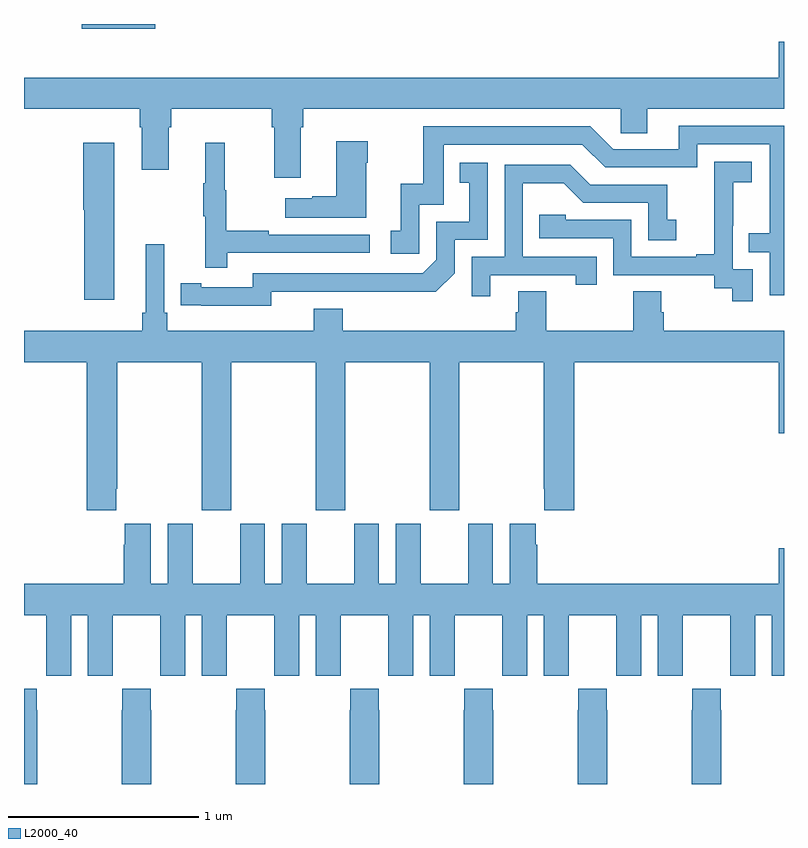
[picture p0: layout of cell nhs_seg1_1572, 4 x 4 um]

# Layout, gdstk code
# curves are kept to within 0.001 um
import gdstk
lib = gdstk.Library(unit=1e-6, precision=1e-09)
def R(c, l, rs):  # rectangles x0, y0, x1, y1
    for r in rs: c.add(gdstk.rectangle(r[:2], r[2:], *l))
def P(c, l, *ps):  # polygons
    for p in ps: c.add(gdstk.Polygon(p, *l))
L2000_40 = (2000, 40)

nhs_seg1_1572 = lib.new_cell('nhs_seg1_1572')
R(nhs_seg1_1572, L2000_40, [(197.304,532.175,197.692,532.199)])
P(nhs_seg1_1572, L2000_40, [(198.457,531.656),(198.47,531.656),(198.47,531.752),(200.142,531.752),(200.142,531.625),(200.281,531.625),(200.281,531.752),(201,531.752),(201,532.105),(200.972,532.105),(200.972,531.916),(197,531.916),(197,531.752),(197.609,531.752),(197.609,531.656),(197.621,531.656),(197.621,531.432),(197.761,531.432),(197.761,531.656),(197.774,531.656),(197.774,531.752),(198.305,531.752),(198.305,531.656),(198.317,531.656),(198.317,531.39),(198.457,531.39)],
  [(201,531.663),(200.447,531.663),(200.447,531.54),(200.1,531.54),(199.98,531.66),(199.101,531.66),(199.101,531.358),(198.983,531.358),(198.983,531.111),(198.93,531.111),(198.93,530.991),(199.08,530.991),(199.08,531.249),(199.209,531.249),(199.209,531.564),(199.938,531.564),(200.058,531.444),(200.544,531.444),(200.544,531.567),(200.925,531.567),(200.925,531.098),(200.815,531.098),(200.815,530.997),(200.925,530.997),(200.925,530.772),(201,530.772)],
  [(198.802,531.47),(198.81,531.47),(198.81,531.583),(198.644,531.583),(198.644,531.293),(198.518,531.293),(198.518,531.283),(198.375,531.283),(198.375,531.179),(198.802,531.179)],
  [(197.476,531.574),(197.312,531.574),(197.312,531.222),(197.318,531.222),(197.318,530.748),(197.476,530.748)],
  [(198.071,530.994),(198.82,530.994),(198.82,531.09),(198.287,531.09),(198.287,531.11),(198.064,531.11),(198.064,531.324),(198.056,531.324),(198.056,531.574),(197.954,531.574),(197.954,531.361),(197.943,531.361),(197.943,531.187),(197.954,531.187),(197.954,530.916),(198.071,530.916)],
  [(200.835,530.907),(200.73,530.907),(200.73,531.137),(200.732,531.137),(200.732,531.365),(200.83,531.365),(200.83,531.475),(200.632,531.475),(200.632,531.269),(200.633,531.269),(200.633,530.986),(200.537,530.986),(200.537,530.973),(200.196,530.973),(200.196,531.168),(199.851,531.168),(199.851,531.195),(199.711,531.195),(199.711,531.072),(200.1,531.072),(200.1,530.877),(200.634,530.877),(200.634,530.809),(200.727,530.809),(200.727,530.739),(200.835,530.739)],
  [(198.3,530.79),(199.168,530.789),(199.266,530.886),(199.266,531.063),(199.44,531.063),(199.44,531.469),(199.294,531.469),(199.294,531.363),(199.343,531.363),(199.343,531.159),(199.17,531.159),(199.17,530.958),(199.098,530.886),(198.204,530.886),(198.204,530.814),(197.932,530.814),(197.932,530.834),(197.824,530.834),(197.824,530.718),(198.3,530.717)],
  [(199.453,530.877),(199.904,530.877),(199.904,530.826),(200.015,530.826),(200.015,530.973),(199.626,530.973),(199.626,531.362),(199.84,531.362),(199.944,531.258),(200.286,531.258),(200.286,531.06),(200.434,531.06),(200.434,531.169),(200.385,531.169),(200.385,531.354),(199.981,531.354),(199.876,531.459),(199.53,531.459),(199.53,530.973),(199.356,530.973),(199.356,530.766),(199.453,530.766)],
  [(199.601,530.682),(199.589,530.682),(199.589,530.584),(198.677,530.584),(198.677,530.701),(198.524,530.701),(198.524,530.584),(197.753,530.584),(197.753,530.68),(197.739,530.68),(197.739,531.04),(197.642,531.04),(197.642,530.68),(197.623,530.68),(197.623,530.584),(197,530.584),(197,530.42),(197.33,530.42),(197.33,529.641),(197.485,529.641),(197.485,529.753),(197.49,529.753),(197.49,530.42),(197.935,530.42),(197.935,529.641),(198.09,529.641),(198.09,530.42),(198.535,530.42),(198.535,529.641),(198.69,529.641),(198.69,530.42),(199.135,530.42),(199.135,529.641),(199.29,529.641),(199.29,530.42),(199.735,530.42),(199.735,529.753),(199.739,529.753),(199.739,529.641),(199.895,529.641),(199.895,530.42),(200.972,530.42),(200.972,530.046),(201,530.046),(201,530.584),(200.366,530.584),(200.366,530.682),(200.353,530.682),(200.353,530.792),(200.206,530.792),(200.206,530.584),(199.749,530.584),(199.749,530.792),(199.601,530.792)],
  [(197.717,528.88),(197.718,528.88),(197.718,528.768),(197.848,528.768),(197.848,529.088),(197.936,529.088),(197.936,528.768),(198.066,528.768),(198.066,528.88),(198.067,528.88),(198.067,529.088),(198.317,529.088),(198.317,528.88),(198.318,528.88),(198.318,528.768),(198.448,528.768),(198.448,529.088),(198.536,529.088),(198.536,528.768),(198.666,528.768),(198.666,528.88),(198.667,528.88),(198.667,529.088),(198.917,529.088),(198.917,528.88),(198.918,528.88),(198.918,528.768),(199.048,528.768),(199.048,529.088),(199.136,529.088),(199.136,528.768),(199.266,528.768),(199.266,528.88),(199.267,528.88),(199.267,529.088),(199.517,529.088),(199.517,528.88),(199.518,528.88),(199.518,528.768),(199.648,528.768),(199.648,529.088),(199.736,529.088),(199.736,528.768),(199.866,528.768),(199.866,528.88),(199.867,528.88),(199.867,529.088),(200.117,529.088),(200.117,528.88),(200.118,528.88),(200.118,528.768),(200.248,528.768),(200.248,529.088),(200.336,529.088),(200.336,528.768),(200.466,528.768),(200.466,528.88),(200.467,528.88),(200.467,529.088),(200.717,529.088),(200.717,528.88),(200.718,528.88),(200.718,528.768),(200.848,528.768),(200.848,529.088),(200.936,529.088),(200.936,528.768),(201,528.768),(201,529.441),(200.972,529.441),(200.972,529.252),(199.7,529.252),(199.7,529.457),(199.693,529.457),(199.693,529.57),(199.556,529.57),(199.556,529.252),(199.468,529.252),(199.468,529.57),(199.337,529.57),(199.337,529.252),(199.087,529.252),(199.087,529.57),(198.956,529.57),(198.956,529.252),(198.868,529.252),(198.868,529.57),(198.737,529.57),(198.737,529.252),(198.487,529.252),(198.487,529.57),(198.356,529.57),(198.356,529.252),(198.268,529.252),(198.268,529.57),(198.137,529.57),(198.137,529.252),(197.887,529.252),(197.887,529.57),(197.756,529.57),(197.756,529.252),(197.668,529.252),(197.668,529.57),(197.531,529.57),(197.531,529.457),(197.525,529.457),(197.525,529.252),(197,529.252),(197,529.088),(197.117,529.088),(197.117,528.88),(197.118,528.88),(197.118,528.768),(197.248,528.768),(197.248,529.088),(197.336,529.088),(197.336,528.768),(197.466,528.768),(197.466,528.88),(197.467,528.88),(197.467,529.088),(197.717,529.088)],
  [(197.07,528.587),(197.067,528.587),(197.067,528.7),(197,528.7),(197,528.199),(197.07,528.199)],
  [(200.67,528.587),(200.667,528.587),(200.667,528.7),(200.517,528.7),(200.517,528.587),(200.515,528.587),(200.515,528.199),(200.67,528.199)],
  [(200.07,528.587),(200.067,528.587),(200.067,528.7),(199.917,528.7),(199.917,528.587),(199.915,528.587),(199.915,528.199),(200.07,528.199)],
  [(199.47,528.587),(199.467,528.587),(199.467,528.7),(199.317,528.7),(199.317,528.587),(199.315,528.587),(199.315,528.199),(199.47,528.199)],
  [(198.87,528.587),(198.867,528.587),(198.867,528.7),(198.717,528.7),(198.717,528.587),(198.715,528.587),(198.715,528.199),(198.87,528.199)],
  [(198.27,528.587),(198.267,528.587),(198.267,528.7),(198.117,528.7),(198.117,528.587),(198.115,528.587),(198.115,528.199),(198.27,528.199)],
  [(197.67,528.587),(197.667,528.587),(197.667,528.7),(197.517,528.7),(197.517,528.587),(197.515,528.587),(197.515,528.199),(197.67,528.199)])

lib.write_gds('nhs_seg1_1572.gds')
